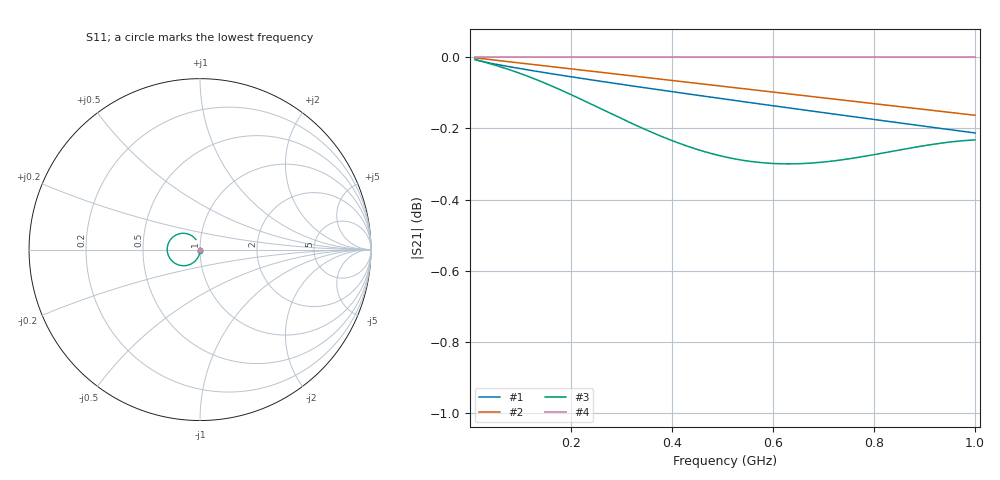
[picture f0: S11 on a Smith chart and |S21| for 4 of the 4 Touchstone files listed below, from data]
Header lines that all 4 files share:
! nPorts: 2, nXvals: 201
# MHz S DB R 50
!Freq DBS11 AngS11 DBS21 AngS21 DBS12 AngS12 DBS22 AngS22
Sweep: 10 MHz to 1 GHz
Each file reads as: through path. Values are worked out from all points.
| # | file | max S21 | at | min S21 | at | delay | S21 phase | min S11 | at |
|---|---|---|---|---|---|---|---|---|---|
| 1 | awr_microstrip50ohm.s2p | -0.01 dB | 10 MHz | -0.2 dB | 1 GHz | 446 ps | -81 deg at 505 MHz | -99.4 dB | 94.15 MHz |
| 2 | awr_microstrip50ohmNoSkinEffect.s2p | 0.00 dB | 10 MHz | -0.2 dB | 1 GHz | 446 ps | -81 deg at 505 MHz | -74.5 dB | 10 MHz |
| 3 | awr_microstrip.s2p | -0.01 dB | 10 MHz | -0.3 dB | 628.8 MHz | 443 ps | -81 deg at 505 MHz | -45.1 dB | 10 MHz |
| 4 | awr_sma.s2p | 0.00 dB | 10 MHz | 0.0 dB | 1 GHz | 48 ps | -9 deg at 505 MHz | -93.3 dB | 10 MHz |
